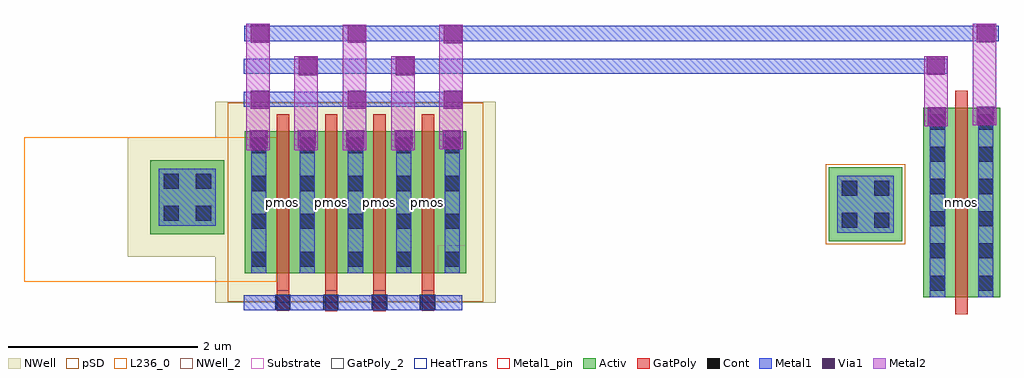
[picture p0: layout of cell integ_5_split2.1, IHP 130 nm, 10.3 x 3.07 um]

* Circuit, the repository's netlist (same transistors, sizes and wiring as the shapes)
** sch_path: /foss/designs/integ_5_split2.1.sch
.subckt integ_5_split2.1 ps vssa vx1 vin vdda psb
*.PININFO vin:I psb:B ps:B vx1:B vdda:B vssa:B
M10 vx1 psb vin vdda sg13_lv_pmos L=0.13u W=6u ng=4 m=1
M11 vx1 ps vin vssa sg13_lv_nmos L=0.13u W=2u ng=1 m=1
.ends
.end

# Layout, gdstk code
import gdstk
lib = gdstk.Library(unit=1e-6, precision=1e-09)
def R(c, l, rs):  # rectangles x0, y0, x1, y1
    for r in rs: c.add(gdstk.rectangle(r[:2], r[2:], *l))
def A(c, l, x, y, w, h, nx, ny, dx, dy):  # array of equal rectangles
    R(c, l, [(x+i*dx, y+j*dy, x+i*dx+w, y+j*dy+h) for i in range(nx) for j in range(ny)])
Activ = (1, 0)
GatPoly = (5, 0)
GatPoly_2 = (5, 2)
Cont = (6, 0)
Metal1 = (8, 0)
Metal1_pin = (8, 2)
Metal2 = (10, 0)
pSD = (14, 0)
Via1 = (19, 0)
NWell = (31, 0)
NWell_2 = (31, 2)
Substrate = (40, 0)
HeatTrans = (51, 0)
L236_0 = (236, 0)

ntap = lib.new_cell('ntap')
R(ntap, Activ, [(0,0,0.78,0.78)])
R(ntap, Cont, [(0.14,0.14,0.3,0.3), (0.48,0.14,0.64,0.3), (0.14,0.48,0.3,0.64), (0.48,0.48,0.64,0.64)])
R(ntap, Metal1, [(0.09,0.09,0.69,0.69)])
R(ntap, Metal1_pin, [(0.09,0.09,0.69,0.69)])
R(ntap, NWell, [(-0.24,-0.24,1.02,1.02)])
R(ntap, NWell_2, [(0,0,0.78,0.78)])
R(ntap, L236_0, [(-1.334,-0.5,1.334,1.02)])
ntap.add(gdstk.Label('well', (0,0), layer=63, texttype=0))
ntap.add(gdstk.Label('[@instanceName]', (0,0.26), layer=236, texttype=1))

ptap = lib.new_cell('ptap')
R(ptap, Activ, [(0,0,0.78,0.78)])
R(ptap, Cont, [(0.14,0.14,0.3,0.3), (0.48,0.14,0.64,0.3), (0.14,0.48,0.3,0.64), (0.48,0.48,0.64,0.64)])
R(ptap, Metal1, [(0.09,0.09,0.69,0.69)])
R(ptap, Metal1_pin, [(0.09,0.09,0.69,0.69)])
R(ptap, pSD, [(-0.03,-0.03,0.81,0.81)])

integ_5_split2_1 = lib.new_cell('integ_5_split2.1')
A(integ_5_split2_1, Activ, -4.517, -0.459, 0.3, 0.3, 5, 1, 0.51, 0)
R(integ_5_split2_1, Activ, [(2.645,-0.711,2.945,-0.411), (2.645,-0.711,3.455,1.289), (3.155,-0.711,3.455,-0.411), (-4.517,-0.459,-2.177,1.041)])
R(integ_5_split2_1, GatPoly, [(2.985,-0.891,3.115,1.469), (-3.667,-0.857,-3.537,1.221), (-3.157,-0.857,-3.027,1.221), (-2.647,-0.854,-2.517,1.221), (-4.177,-0.85,-4.047,1.221), (-4.177,-0.639,-4.047,1.221), (-4.177,-0.639,-4.047,1.221)])
R(integ_5_split2_1, GatPoly_2, [(2.985,-0.891,3.115,1.469), (2.985,-0.891,3.115,1.469)])
A(integ_5_split2_1, Cont, 2.715, -0.641, 0.16, 0.16, 1, 6, 0, 0.34)
A(integ_5_split2_1, Cont, 3.225, -0.641, 0.16, 0.16, 1, 6, 0, 0.34)
A(integ_5_split2_1, Cont, -4.447, -0.389, 0.16, 0.16, 5, 4, 0.51, 0.4)
R(integ_5_split2_1, Cont, [(-4.196,-0.846,-4.036,-0.686), (-3.689,-0.846,-3.529,-0.686), (-3.173,-0.846,-3.013,-0.686), (-2.666,-0.846,-2.506,-0.686)])
A(integ_5_split2_1, Metal1, -3.937, -0.459, 0.16, 1.5, 4, 1, 0.51, 0)
R(integ_5_split2_1, Metal1, [(-4.525,-0.848,-2.218,-0.688), (2.715,-0.711,2.875,1.289), (3.225,-0.711,3.385,1.289), (-4.447,-0.459,-4.287,1.041), (-4.447,-0.459,-4.287,1.041), (-4.447,-0.459,-4.287,1.041), (-3.937,-0.459,-3.777,1.041), (-3.937,-0.459,-3.777,1.041), (-4.525,1.301,-2.218,1.461), (-4.525,1.649,2.898,1.809), (-4.521,1.993,3.444,2.153)])
R(integ_5_split2_1, Metal1_pin, [(2.715,-0.711,2.875,1.289), (2.715,-0.711,2.875,1.289), (3.225,-0.711,3.385,1.289), (3.225,-0.711,3.385,1.289)])
R(integ_5_split2_1, Metal2, [(-4.502,0.841,-4.254,2.176), (-3.994,0.841,-3.746,1.833), (-3.479,0.841,-3.231,2.168), (-2.971,0.841,-2.723,1.834), (-2.462,0.851,-2.213,2.164), (2.656,1.097,2.904,1.832), (3.17,1.104,3.418,2.178)])
R(integ_5_split2_1, pSD, [(-4.697,-0.759,-1.997,1.341)])
R(integ_5_split2_1, Via1, [(-4.465,0.86,-4.275,1.05), (-3.957,0.86,-3.767,1.05), (-3.442,0.86,-3.252,1.05), (-2.934,0.86,-2.744,1.05), (-2.425,0.86,-2.235,1.05), (2.693,1.106,2.883,1.296), (3.207,1.113,3.397,1.303), (-4.454,1.281,-4.264,1.471), (-3.431,1.281,-3.241,1.471), (-2.414,1.281,-2.224,1.471), (-3.946,1.634,-3.756,1.824), (-2.923,1.634,-2.733,1.824), (2.682,1.638,2.872,1.828), (-2.414,1.97,-2.224,2.16), (-4.454,1.975,-4.264,2.165), (-3.431,1.975,-3.241,2.165), (3.212,1.982,3.402,2.172)])
R(integ_5_split2_1, NWell, [(-4.827,-0.769,-1.867,1.351)])
R(integ_5_split2_1, Substrate, [(-2.477,-0.459,-2.177,-0.159), (-2.477,-0.459,-2.177,-0.159)])
A(integ_5_split2_1, HeatTrans, -4.177, -0.639, 0.13, 1.86, 4, 1, 0.51, 0)
R(integ_5_split2_1, HeatTrans, [(2.985,-0.891,3.115,1.469)])
integ_5_split2_1.add(gdstk.Reference(ntap, (-5.511,-0.044)))
integ_5_split2_1.add(gdstk.Reference(ptap, (1.646,-0.119)))
integ_5_split2_1.add(gdstk.Label('pmos', (-4.112,0.291), layer=51, texttype=0))
integ_5_split2_1.add(gdstk.Label('pmos', (-3.602,0.291), layer=51, texttype=0))
integ_5_split2_1.add(gdstk.Label('pmos', (-3.092,0.291), layer=51, texttype=0))
integ_5_split2_1.add(gdstk.Label('pmos', (-2.582,0.291), layer=51, texttype=0))
integ_5_split2_1.add(gdstk.Label('nmos', (3.05,0.289), layer=51, texttype=0))
integ_5_split2_1.add(gdstk.Label('pmos', (-4.112,0.291), layer=63, texttype=0))

lib.write_gds('integ_5_split2.1.gds')
